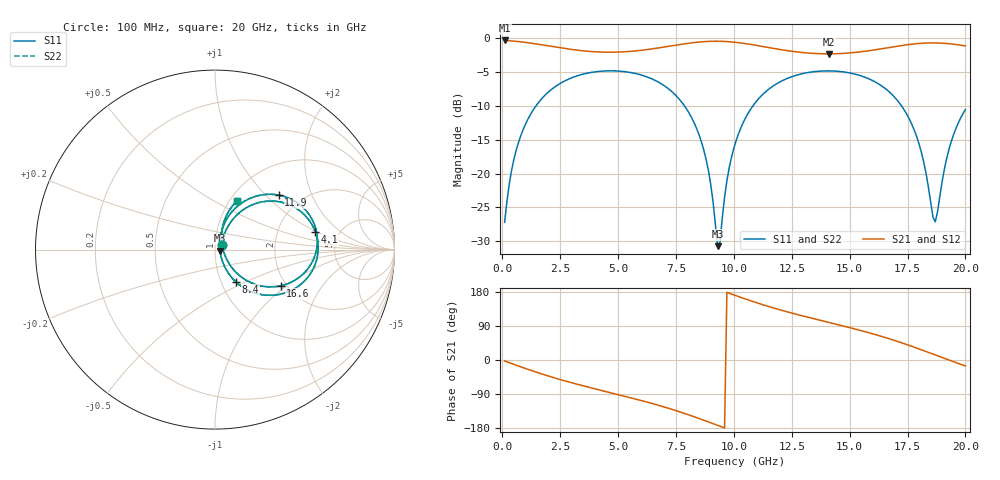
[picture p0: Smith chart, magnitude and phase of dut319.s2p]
! Touchstone file exported from HFSS 2026.1.0
!  File:  C:/ffzhzh/LocalFiles/Ansys_Project_Files/temp_train_TSV_RDL_319_1783031018_51716.aedt
!  Generated:  06:43:04 AM Jul  3, 2026
!  Design:  TSV_RDL
!  Project:  temp_train_TSV_RDL_319_1783031018_51716
! Variables:
!  h_bsmrdl = 2.64um
!  h_ox = 20um
!  h_rdl = 5um
!  h_sub = 92.33um
!  h_tmrdl = 2.84um
!  h_tsv = 92.33um
!  h_via = 3um
!  l_bsmrdl = 961.25um
!  l_sub = 5972.64um
!  l_tmrdl = 641.57um
!  m_sub = 200um
!  pitch = 58.27um
!  r_tsv = 14.45um
!  s_tmrdl = 10um
!  w_bsmrdl = 25.16um
!  w_sub = 500um
!  w_tmrdl = 15.71um
!  x_tsv_center1 = 649.425um
!  x_tsv_center2 = 1635.835um
!  x_tsv_center3 = 2293.115um
!  x_tsv_center4 = 3279.525um
!  x_tsv_center5 = 3936.805um
!  x_tsv_center6 = 4923.215um
# GHz S MA R 50.000000
! Terminal data exported
! Port[1] = TM_RDL1_1_T1
! Port[2] = TM_RDL5_1_T1
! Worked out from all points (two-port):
!   200 points, 100 MHz to 20 GHz, reference 50 ohm
!   highest |S21| = -0.32 dB at 100 MHz (marker M1); lowest = -2.3 dB at 14.1 GHz (marker M2)
!   |S21| within 3 dB of the highest: start of sweep to end of sweep
!   lowest |S11| = -30.7 dB at 9.3 GHz (marker M3), VSWR 1.06, Z = 52.9 - j0.657 ohm
!   |S11| at or under -10 dB: start of sweep to 1.454 GHz; 7.869 GHz to 10.82 GHz (2.953 GHz wide, 31.6 % of centre); 17.24 GHz to end of sweep
!   |S22| runs from -30.8 to -4.8 dB; largest |S21 - S12| = 1.7e-14
!   S11 on the Smith chart (normalised r, x): 100 MHz: 1.07, +0.05; 4.1 GHz: 3.31, +0.97; 8.4 GHz: 1.17, -0.44; 11.9 GHz: 1.54, +1.19; 16.6 GHz: 1.86, -0.91; 20 GHz: 1.08, +0.64
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0.1  0.0436 33.4  0.9643 -2.4  0.9643 -2.4  0.0436 33.4
! Gamma 0 0 0 0
! Port Impedance 50 0 50 0
0.5  0.1271 60.6  0.9535 -11.5  0.9535 -11.5  0.1271 60.6
1.1  0.2513 56.2  0.9281 -24.5  0.9281 -24.5  0.2513 56.2
3.5  0.544 18.9  0.8075 -68.2  0.8075 -68.2  0.544 18.9
4.1  0.5677 10.1  0.7935 -77.6  0.7935 -77.6  0.5677 10.1
6.8  0.4685 -30.3  0.8519 -120.5  0.8519 -120.5  0.4685 -30.3
8.4  0.2138 -57.1  0.9353 -152.3  0.9353 -152.3  0.2138 -57.2
8.9  0.1057 -60.2  0.9493 -163.4  0.9493 -163.4  0.1057 -60.3
9.3  0.02906 -12.3  0.9519 -172.5  0.9519 -172.5  0.02887 -12.5
9.4  0.03113 31.1  0.9513 -174.7  0.9513 -174.7  0.03093 31.2
9.7  0.08847 68.8  0.9463 178.5  0.9463 178.5  0.08838 69.0
10.1  0.1755 69.3  0.9331 169.6  0.9331 169.6  0.1755 69.4
10.8  0.3125 58.9  0.8971 154.8  0.8971 154.8  0.3125 59.0
11.9  0.467 40.6  0.8316 134.0  0.8316 134.0  0.4669 40.6
13.4  0.5649 18.0  0.7742 109.8  0.7742 109.8  0.5649 18.1
14.1  0.5743 8.2  0.7678 99.2  0.7678 99.2  0.5743 8.2
16.6  0.4173 -29.0  0.8491 58.2  0.8491 58.2  0.4172 -28.9
16.7  0.4035 -30.6  0.8547 56.3  0.8547 56.3  0.4034 -30.5
17.9  0.1867 -47.1  0.9131 31.4  0.9131 31.4  0.1867 -46.9
18.7  0.04397 18.4  0.9248 13.2  0.9248 13.2  0.04469 18.5
19.3  0.153 72.2  0.912 -0.4  0.912 -0.4  0.1533 71.9
20  0.2971 65.7  0.8784 -15.6  0.8784 -15.6  0.2972 65.6
